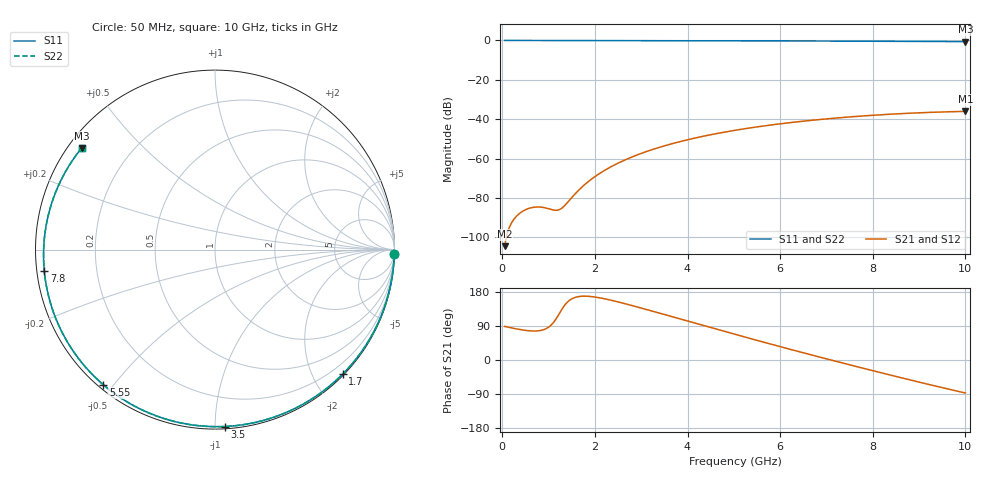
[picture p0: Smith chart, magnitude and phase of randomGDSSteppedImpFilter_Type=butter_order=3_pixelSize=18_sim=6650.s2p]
! freq	dB(S11)	phase(S11)	dB(S12)	phase(S12)
!  dB(S21)	phase(S21)	dB(S22)	phase(S22)
!S-par simulation data
#  GHz  S  DB  R 50
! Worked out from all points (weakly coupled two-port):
!   200 points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, 50 MHz to 10 GHz, reference 50 ohm
!   highest |S21| = -36.02 dB at 10 GHz (marker M1); lowest = -104.5 dB at 50 MHz (marker M2)
!   lowest |S11| = -0.6 dB at 10 GHz (marker M3), VSWR 29.26, Z = 1.9 + j16.9 ohm
!   |S11| at or under -10 dB: nowhere
!   |S22| runs from -0.6 to 0.0 dB; largest |S21 - S12| = 0
!   S11 on the Smith chart (normalised r, x): 50 MHz: 1, -88; 1.7 GHz: 0.02, -2.46; 3.5 GHz: 0.01, -1.06; 5.55 GHz: 0.01, -0.47; 7.8 GHz: 0.02, -0.06; 10 GHz: 0.04, +0.34
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0.05  -0.00 -1.3  -104.46 88.6  -104.46 88.6  -0.00 -1.3
0.4  -0.02 -10.6  -87.34 80.0  -87.34 80.0  -0.02 -10.6
0.75  -0.03 -19.8  -84.57 76.7  -84.57 76.7  -0.03 -19.8
1.45  -0.05 -37.9  -81.15 157.4  -81.15 157.4  -0.05 -37.9
1.5  -0.05 -39.2  -79.80 161.3  -79.80 161.3  -0.05 -39.2
1.7  -0.06 -44.2  -74.88 168.2  -74.88 168.2  -0.06 -44.2
1.75  -0.06 -45.5  -73.80 168.5  -73.80 168.5  -0.06 -45.5
2.05  -0.07 -52.9  -68.33 165.2  -68.33 165.2  -0.07 -52.9
2.45  -0.08 -62.6  -62.88 154.8  -62.88 154.8  -0.08 -62.6
2.9  -0.09 -73.2  -58.24 140.4  -58.24 140.4  -0.09 -73.2
3.4  -0.11 -84.6  -54.22 123.4  -54.22 123.4  -0.11 -84.6
3.5  -0.11 -86.8  -53.52 120.0  -53.52 120.0  -0.11 -86.8
4.25  -0.14 -103.1  -49.09 94.2  -49.09 94.2  -0.14 -103.1
5.05  -0.18 -119.6  -45.52 66.9  -45.52 66.9  -0.18 -119.6
5.55  -0.20 -129.6  -43.72 50.1  -43.72 50.1  -0.20 -129.6
6.15  -0.24 -141.3  -41.90 30.4  -41.90 30.4  -0.24 -141.3
6.7  -0.28 -151.9  -40.50 12.6  -40.50 12.6  -0.28 -151.9
7.25  -0.32 -162.4  -39.31 -4.9  -39.31 -4.9  -0.32 -162.4
7.8  -0.37 -173.0  -38.31 -22.0  -38.31 -22.0  -0.37 -173.0
8.35  -0.42 176.4  -37.49 -38.9  -37.49 -38.9  -0.42 176.4
9.2  -0.51 159.4  -36.55 -64.3  -36.55 -64.3  -0.51 159.4
10  -0.59 142.7  -36.02 -87.1  -36.02 -87.1  -0.59 142.7
